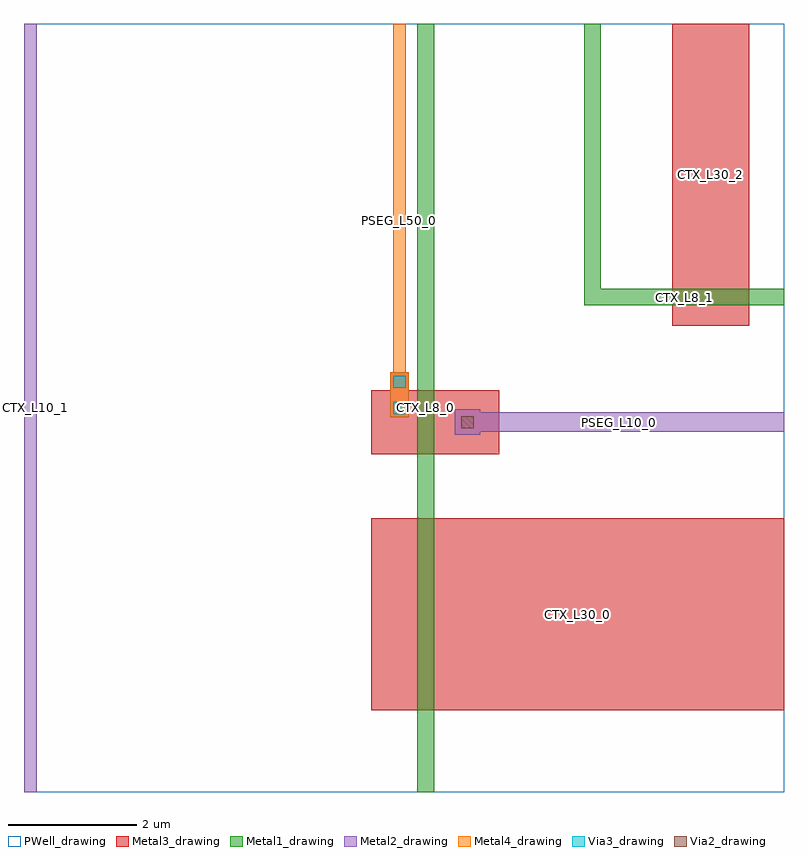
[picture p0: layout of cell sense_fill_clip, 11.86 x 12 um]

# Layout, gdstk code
import gdstk
lib = gdstk.Library(unit=1e-6, precision=1e-09)
def R(c, l, rs):  # rectangles x0, y0, x1, y1
    for r in rs: c.add(gdstk.rectangle(r[:2], r[2:], *l))
def P(c, l, *ps):  # polygons
    for p in ps: c.add(gdstk.Polygon(p, *l))
Metal1_drawing = (8, 0)
Metal2_drawing = (10, 0)
Via2_drawing = (29, 0)
Metal3_drawing = (30, 0)
PWell_drawing = (46, 0)
Via3_drawing = (49, 0)
Metal4_drawing = (50, 0)

sense_fill_clip = lib.new_cell('sense_fill_clip')
R(sense_fill_clip, Metal1_drawing, [(733.72,441.72,733.98,453.72), (736.32,449.32,739.44,449.58), (736.32,449.58,736.58,453.72)])
R(sense_fill_clip, Metal2_drawing, [(727.58,441.72,727.78,453.72)])
P(sense_fill_clip, Metal2_drawing, [(734.3,447.3),(734.3,447.7),(734.7,447.7),(734.7,447.65),(739.44,447.65),(739.44,447.35),(734.7,447.35),(734.7,447.3)])
R(sense_fill_clip, Via2_drawing, [(734.405,447.405,734.595,447.595)])
R(sense_fill_clip, Metal3_drawing, [(733,443,739.44,446), (737.7,449,738.9,453.72)])
P(sense_fill_clip, Metal3_drawing, [(733,447),(733,448),(733.295,448),(733.295,448.275),(733.585,448.275),(733.585,448),(735,448),(735,447)])
R(sense_fill_clip, PWell_drawing, [(727.58,441.72,739.44,453.72), (727.58,441.72,739.44,453.72)])
R(sense_fill_clip, Via3_drawing, [(733.345,447.625,733.535,447.815), (733.345,448.035,733.535,448.225)])
P(sense_fill_clip, Metal4_drawing, [(733.295,447.575),(733.295,448.275),(733.34,448.275),(733.34,453.72),(733.54,453.72),(733.54,448.275),(733.585,448.275),(733.585,447.575)])
sense_fill_clip.add(gdstk.Label('CTX_L8_1', (737.88,449.45), layer=8, texttype=25))
sense_fill_clip.add(gdstk.Label('CTX_L8_0', (733.85,447.72), layer=8, texttype=25))
sense_fill_clip.add(gdstk.Label('CTX_L10_1', (727.68,447.72), layer=10, texttype=25))
sense_fill_clip.add(gdstk.Label('PSEG_L10_0', (736.87,447.5), layer=10, texttype=25))
sense_fill_clip.add(gdstk.Label('CTX_L30_2', (738.3,451.36), layer=30, texttype=25))
sense_fill_clip.add(gdstk.Label('CTX_L30_0', (736.22,444.5), layer=30, texttype=25))
sense_fill_clip.add(gdstk.Label('P', (733.44,447.72), layer=30, texttype=25))
sense_fill_clip.add(gdstk.Label('PSEG_L50_0', (733.44,450.647), layer=50, texttype=25))

lib.write_gds('sense_fill_clip.gds')
